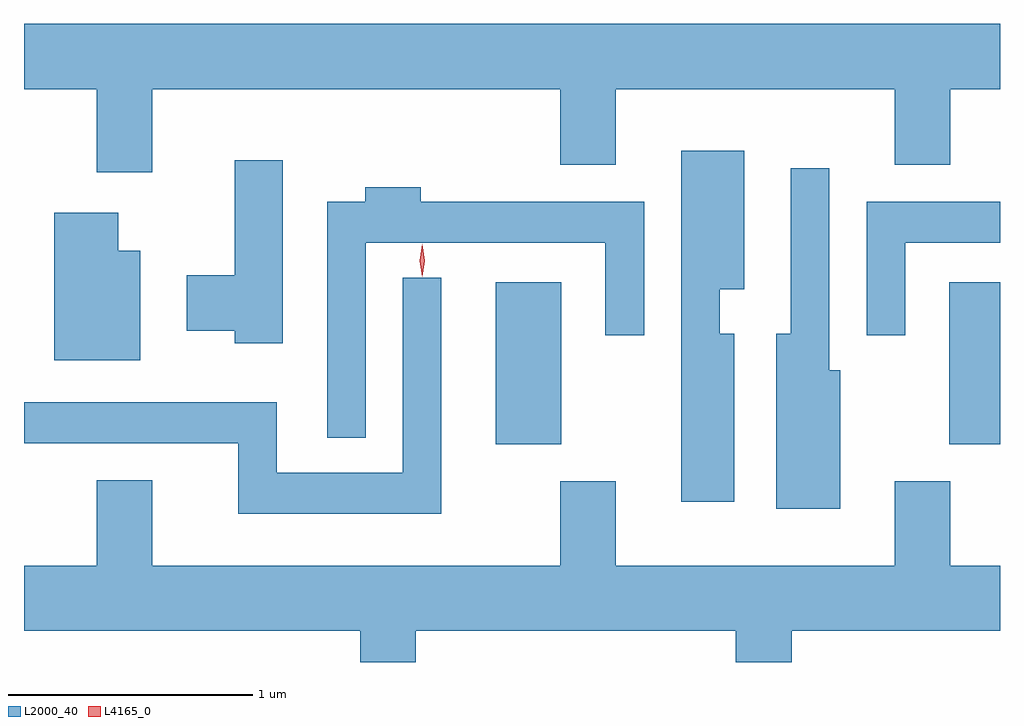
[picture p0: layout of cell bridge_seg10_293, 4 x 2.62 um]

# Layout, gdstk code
import gdstk
lib = gdstk.Library(unit=1e-6, precision=1e-09)
def R(c, l, rs):  # rectangles x0, y0, x1, y1
    for r in rs: c.add(gdstk.rectangle(r[:2], r[2:], *l))
def P(c, l, *ps):  # polygons
    for p in ps: c.add(gdstk.Polygon(p, *l))
L2000_40 = (2000, 40)
L4165_0 = (4165, 0)

bridge_seg10_293 = lib.new_cell('bridge_seg10_293')
R(bridge_seg10_293, L2000_40, [(1399.996,2167.961,1400.264,2168.624), (1401.856,2167.961,1402.063,2168.624)])
P(bridge_seg10_293, L2000_40, [(1398.589,2169.416),(1400.261,2169.416),(1400.261,2169.106),(1400.489,2169.106),(1400.489,2169.416),(1401.631,2169.416),(1401.631,2169.106),(1401.859,2169.106),(1401.859,2169.416),(1402.063,2169.416),(1402.063,2169.684),(1398.063,2169.684),(1398.063,2169.416),(1398.361,2169.416),(1398.361,2169.076),(1398.589,2169.076)],
  [(1400.974,2168.414),(1400.914,2168.414),(1400.914,2168.596),(1401.014,2168.596),(1401.014,2169.164),(1400.756,2169.164),(1400.756,2167.726),(1400.974,2167.726)],
  [(1399.124,2169.124),(1398.926,2169.124),(1398.926,2168.654),(1398.731,2168.654),(1398.731,2168.426),(1398.926,2168.426),(1398.926,2168.376),(1399.124,2168.376)],
  [(1401.409,2168.264),(1401.364,2168.264),(1401.364,2169.093),(1401.206,2169.093),(1401.206,2168.414),(1401.146,2168.414),(1401.146,2167.696),(1401.409,2167.696)],
  [(1399.464,2168.786),(1400.446,2168.786),(1400.446,2168.408),(1400.604,2168.408),(1400.604,2168.954),(1399.689,2168.954),(1399.689,2169.014),(1399.461,2169.014),(1399.461,2168.954),(1399.306,2168.954),(1399.306,2167.988),(1399.464,2167.988)],
  [(1401.674,2168.786),(1402.063,2168.786),(1402.063,2168.954),(1401.516,2168.954),(1401.516,2168.408),(1401.674,2168.408)],
  [(1398.539,2168.754),(1398.449,2168.754),(1398.449,2168.909),(1398.186,2168.909),(1398.186,2168.306),(1398.539,2168.306)],
  [(1399.774,2168.643),(1399.616,2168.643),(1399.616,2167.844),(1399.099,2167.844),(1399.099,2168.134),(1398.063,2168.134),(1398.063,2167.966),(1398.941,2167.966),(1398.941,2167.676),(1399.774,2167.676)],
  [(1399.669,2167.196),(1400.981,2167.196),(1400.981,2167.068),(1401.209,2167.068),(1401.209,2167.196),(1402.063,2167.196),(1402.063,2167.464),(1401.859,2167.464),(1401.859,2167.809),(1401.631,2167.809),(1401.631,2167.464),(1400.489,2167.464),(1400.489,2167.809),(1400.261,2167.809),(1400.261,2167.464),(1398.589,2167.464),(1398.589,2167.814),(1398.361,2167.814),(1398.361,2167.464),(1398.063,2167.464),(1398.063,2167.196),(1399.441,2167.196),(1399.441,2167.068),(1399.669,2167.068)])
P(bridge_seg10_293, L4165_0, [(1399.695,2168.647),(1399.695,2168.648),(1399.685,2168.714),(1399.695,2168.78),(1399.695,2168.781),(1399.696,2168.78),(1399.705,2168.714),(1399.696,2168.648)])

lib.write_gds('bridge_seg10_293.gds')
